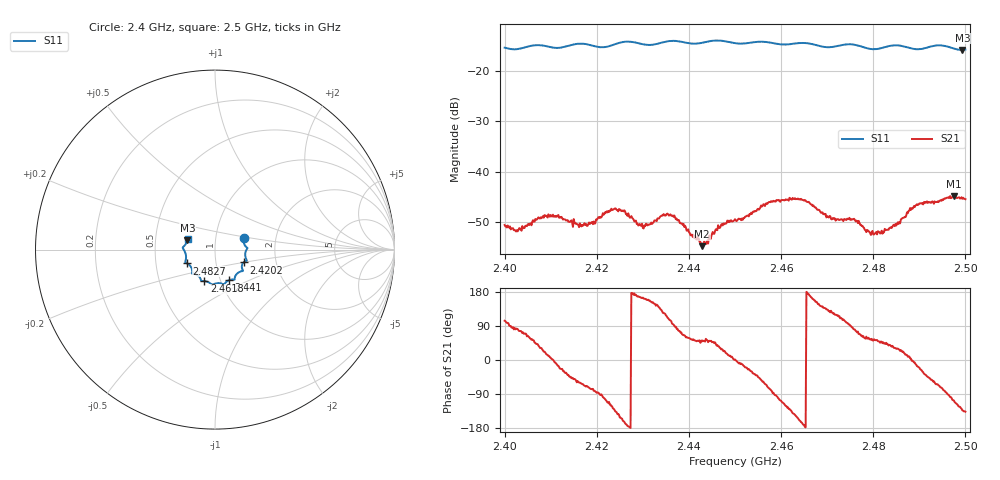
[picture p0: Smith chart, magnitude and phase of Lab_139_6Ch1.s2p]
# Hz S RI R 50
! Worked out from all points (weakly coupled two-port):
!   601 points, 2.4 GHz to 2.5 GHz, reference 50 ohm
!   highest |S21| = -44.82 dB at 2.4975 GHz (marker M1); lowest = -54.8 dB at 2.4428 GHz (marker M2)
!   lowest |S11| = -15.8 dB at 2.4993 GHz (marker M3), VSWR 1.39, Z = 36.5 + j3.81 ohm
!   |S11| at or under -10 dB: start of sweep to end of sweep
!   S12 and S22 are empty: the file has one direction only
!   S11 on the Smith chart (normalised r, x): 2.4 GHz: 1.36, +0.18; 2.4202 GHz: 1.36, -0.20; 2.441 GHz: 1.10, -0.39; 2.4618 GHz: 0.84, -0.30; 2.4827 GHz: 0.72, -0.11; 2.5 GHz: 0.73, +0.09
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2.4e9  0.1589 0.063  -0.000694 0.00287  0 0  0 0
2.4025e9  0.1615 0.0338  0.000317 0.00253  0 0  0 0
2.41e9  0.1728 -0.00658  0.00369 0.000396  0 0  0 0
2.416667e9  0.1772 -0.0609  0.00132 -0.00254  0 0  0 0
2.420167e9  0.1588 -0.0714  0.000262 -0.00341  0 0  0 0
2.423667e9  0.1504 -0.1039  -0.00265 -0.0033  0 0  0 0
2.43e9  0.1366 -0.1246  -0.00267 0.000733  0 0  0 0
2.433333e9  0.1117 -0.1507  -0.00268 0.00214  0 0  0 0
2.436333e9  0.1088 -0.1674  -0.000396 0.00362  0 0  0 0
2.441e9  0.0788 -0.1698  0.00138 0.00192  0 0  0 0
2.442833e9  0.0621 -0.1807  0.00113 0.00143  0 0  0 0
2.45e9  0.0287 -0.1874  0.00338 7.78e-05  0 0  0 0
2.461833e9  -0.059 -0.1755  -0.00346 -0.00428  0 0  0 0
2.466667e9  -0.0788 -0.1684  -0.00455 0.00126  0 0  0 0
2.476e9  -0.1275 -0.1305  0.000554 0.00328  0 0  0 0
2.479667e9  -0.1331 -0.0985  0.0014 0.00207  0 0  0 0
2.482667e9  -0.1559 -0.0772  0.00196 0.00178  0 0  0 0
2.483333e9  -0.1602 -0.075  0.00208 0.00164  0 0  0 0
2.489667e9  -0.1624 -0.0288  0.00446 -0.0014  0 0  0 0
2.4975e9  -0.1652 0.0283  -0.00164 -0.0055  0 0  0 0
2.499333e9  -0.1541 0.0509  -0.00365 -0.00395  0 0  0 0
2.5e9  -0.1523 0.0604  -0.00387 -0.00368  0 0  0 0
